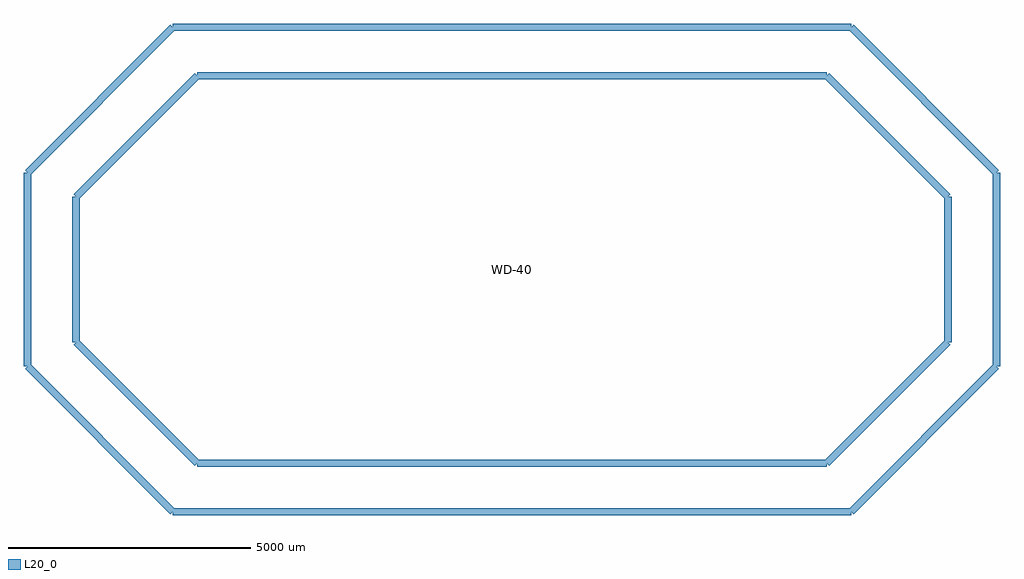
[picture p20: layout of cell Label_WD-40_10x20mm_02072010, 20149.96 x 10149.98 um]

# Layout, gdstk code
import gdstk
lib = gdstk.Library(unit=1e-6, precision=1e-09)
L20_0 = (20, 0)

label_wd_40_10x20mm_0207 = lib.new_cell('Label_WD-40_10x20mm_02072010')
label_wd_40_10x20mm_0207.add(gdstk.FlexPath([(-10414,-1826.26),(-7414.26,-4826)], 149.998, ends="flush", simple_path=True, layer=20, datatype=0))  # L20_0
label_wd_40_10x20mm_0207.add(gdstk.FlexPath([(6586.22,-4826),(9585.96,-1826.26)], 149.998, ends="flush", simple_path=True, layer=20, datatype=0))  # L20_0
label_wd_40_10x20mm_0207.add(gdstk.FlexPath([(9585.96,2174.24),(6586.22,5173.98)], 149.998, ends="flush", simple_path=True, layer=20, datatype=0))  # L20_0
label_wd_40_10x20mm_0207.add(gdstk.FlexPath([(-10414,2174.24),(-7414.26,5173.98)], 149.998, ends="flush", simple_path=True, layer=20, datatype=0))  # L20_0
label_wd_40_10x20mm_0207.add(gdstk.FlexPath([(-7414.26,5173.98),(6586.22,5173.98)], 149.998, ends="flush", simple_path=True, layer=20, datatype=0))  # L20_0
label_wd_40_10x20mm_0207.add(gdstk.FlexPath([(6586.22,-4826),(-7414.26,-4826)], 149.998, ends="flush", simple_path=True, layer=20, datatype=0))  # L20_0
label_wd_40_10x20mm_0207.add(gdstk.FlexPath([(9585.96,2174.24),(9585.96,-1826.26)], 149.998, ends="flush", simple_path=True, layer=20, datatype=0))  # L20_0
label_wd_40_10x20mm_0207.add(gdstk.FlexPath([(-10414,2174.24),(-10414,-1826.26)], 149.998, ends="flush", simple_path=True, layer=20, datatype=0))  # L20_0
label_wd_40_10x20mm_0207.add(gdstk.FlexPath([(-6413.5,-3825.24),(5585.46,-3825.24)], 149.998, ends="flush", simple_path=True, layer=20, datatype=0))  # L20_0
label_wd_40_10x20mm_0207.add(gdstk.FlexPath([(-9413.24,1173.48),(-9413.24,-825.5)], 149.998, ends="flush", simple_path=True, layer=20, datatype=0))  # L20_0
label_wd_40_10x20mm_0207.add(gdstk.FlexPath([(6085.84,-3825.24),(5585.46,-3825.24)], 149.998, ends="flush", simple_path=True, layer=20, datatype=0))  # L20_0
label_wd_40_10x20mm_0207.add(gdstk.FlexPath([(8585.2,-1325.88),(6085.84,-3825.24)], 149.998, ends="flush", simple_path=True, layer=20, datatype=0))  # L20_0
label_wd_40_10x20mm_0207.add(gdstk.FlexPath([(8585.2,1673.86),(8585.2,-1325.88)], 149.998, ends="flush", simple_path=True, layer=20, datatype=0))  # L20_0
label_wd_40_10x20mm_0207.add(gdstk.FlexPath([(-6913.88,4173.22),(-6413.5,4173.22)], 149.998, ends="flush", simple_path=True, layer=20, datatype=0))  # L20_0
label_wd_40_10x20mm_0207.add(gdstk.FlexPath([(-9413.24,1673.86),(-6913.88,4173.22)], 149.998, ends="flush", simple_path=True, layer=20, datatype=0))  # L20_0
label_wd_40_10x20mm_0207.add(gdstk.FlexPath([(-9413.24,1173.48),(-9413.24,1673.86)], 149.998, ends="flush", simple_path=True, layer=20, datatype=0))  # L20_0
label_wd_40_10x20mm_0207.add(gdstk.FlexPath([(8585.2,1673.86),(6085.84,4173.22)], 149.998, ends="flush", simple_path=True, layer=20, datatype=0))  # L20_0
label_wd_40_10x20mm_0207.add(gdstk.FlexPath([(6085.84,4173.22),(-6413.5,4173.22)], 149.998, ends="flush", simple_path=True, layer=20, datatype=0))  # L20_0
label_wd_40_10x20mm_0207.add(gdstk.FlexPath([(-6913.88,-3825.24),(-6413.5,-3825.24)], 149.998, ends="flush", simple_path=True, layer=20, datatype=0))  # L20_0
label_wd_40_10x20mm_0207.add(gdstk.FlexPath([(-9413.24,-1325.88),(-6913.88,-3825.24)], 149.998, ends="flush", simple_path=True, layer=20, datatype=0))  # L20_0
label_wd_40_10x20mm_0207.add(gdstk.FlexPath([(-9413.24,-825.5),(-9413.24,-1325.88)], 149.998, ends="flush", simple_path=True, layer=20, datatype=0))  # L20_0
label_wd_40_10x20mm_0207.add(gdstk.Label('WD-40', (-414.02,175.26), layer=9, texttype=0))
label_wd_40_10x20mm_0207.add(gdstk.Label('type', (0,-7112), layer=9, texttype=0))
label_wd_40_10x20mm_0207.add(gdstk.Label('devicename', (0,7112), layer=9, texttype=0))

lib.write_gds('Label_WD-40_10x20mm_02072010.gds')
